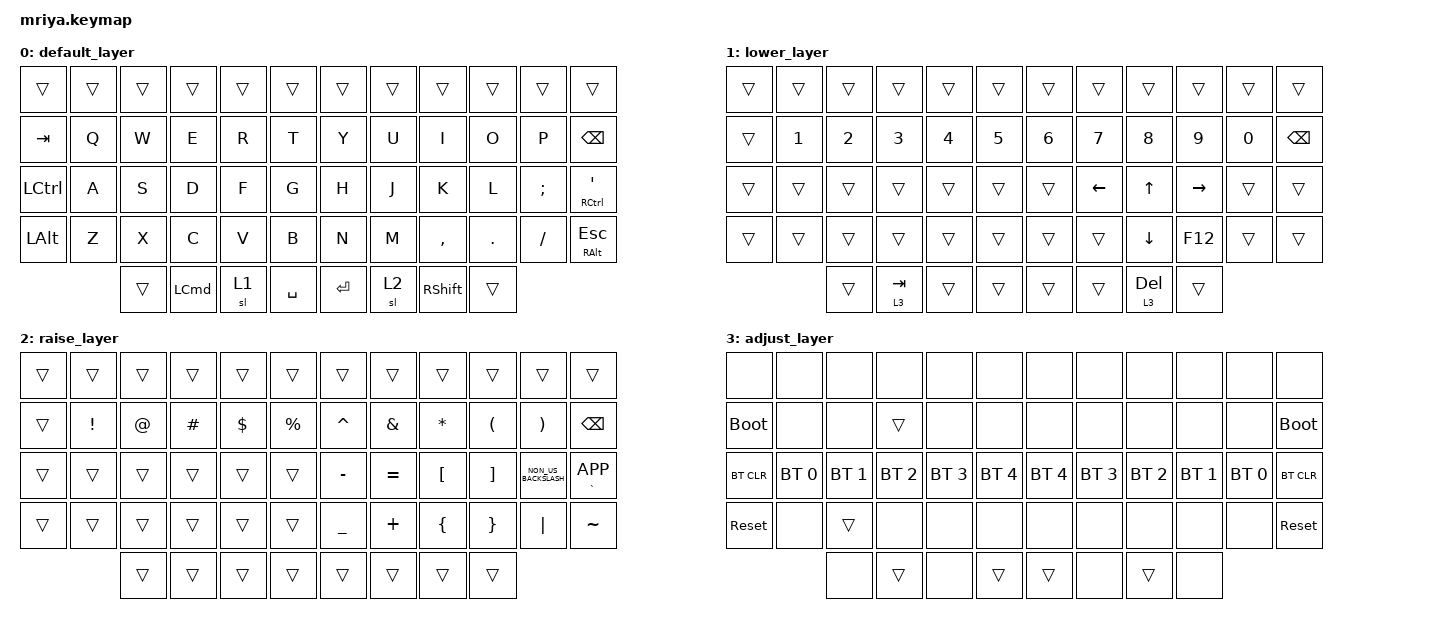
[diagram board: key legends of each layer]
/*
 * Copyright (c) 2023 Andrei Gaevskii
 *
 * SPDX-License-Identifier: MIT
 */

#include <behaviors.dtsi>
#include <dt-bindings/zmk/bt.h>
#include <dt-bindings/zmk/keys.h>

#define DEF 0
#define LWR 1
#define RSE 2
#define ADJ 3

&lt { quick_tap_ms = <200>; };

&mt { quick_tap_ms = <200>; };

/ {
    keymap {
        compatible = "zmk,keymap";

        default_layer {
            bindings = <
  &trans     &trans  &trans  &trans            &trans  &trans       &trans     &trans  &trans           &trans   &trans    &trans
  &kp TAB    &kp Q   &kp W   &kp E             &kp R   &kp T        &kp Y      &kp U   &kp I            &kp O    &kp P     &kp BACKSPACE
  &kp LCTRL  &kp A   &kp S   &kp D             &kp F   &kp G        &kp H      &kp J   &kp K            &kp L    &kp SEMI  &mt RCTRL SQT
  &kp LALT   &kp Z   &kp X   &kp C             &kp V   &kp B        &kp N      &kp M   &kp COMMA        &kp DOT  &kp FSLH  &mt RALT ESCAPE
                     &trans  &kp LEFT_COMMAND  &sl 1   &kp SPACE    &kp ENTER  &sl 2   &kp RIGHT_SHIFT  &trans
            >;
        };

        lower_layer {
            bindings = <
  &trans  &trans  &trans  &trans     &trans  &trans    &trans  &trans          &trans          &trans           &trans  &trans
  &trans  &kp N1  &kp N2  &kp N3     &kp N4  &kp N5    &kp N6  &kp N7          &kp N8          &kp N9           &kp N0  &kp BACKSPACE
  &trans  &trans  &trans  &trans     &trans  &trans    &trans  &kp LEFT_ARROW  &kp UP_ARROW    &kp RIGHT_ARROW  &trans  &trans
  &trans  &trans  &trans  &trans     &trans  &trans    &trans  &trans          &kp DOWN_ARROW  &kp F12          &trans  &trans
                  &trans  &lt 3 TAB  &trans  &trans    &trans  &trans          &lt 3 DEL       &trans
            >;
        };

        raise_layer {
            bindings = <
  &trans  &trans           &trans       &trans    &trans      &trans         &trans          &trans         &trans            &trans                &trans                 &trans
  &trans  &kp EXCLAMATION  &kp AT_SIGN  &kp HASH  &kp DOLLAR  &kp PERCENT    &kp CARET       &kp AMPERSAND  &kp ASTERISK      &kp LEFT_PARENTHESIS  &kp RIGHT_PARENTHESIS  &kp BACKSPACE
  &trans  &trans           &trans       &trans    &trans      &trans         &kp MINUS       &kp EQUAL      &kp LEFT_BRACKET  &kp RIGHT_BRACKET     &kp NON_US_BACKSLASH   &mt GRAVE K_APP
  &trans  &trans           &trans       &trans    &trans      &trans         &kp UNDERSCORE  &kp PLUS       &kp LEFT_BRACE    &kp RIGHT_BRACE       &kp PIPE               &kp TILDE
                           &trans       &trans    &trans      &trans         &trans          &trans         &trans            &trans
            >;
        };

        adjust_layer {
            bindings = <
  &none        &none         &none         &none         &none         &none           &none         &none         &none         &none         &none         &none
  &bootloader  &none         &none         &trans        &none         &none           &none         &none         &none         &none         &none         &bootloader
  &bt BT_CLR   &bt BT_SEL 0  &bt BT_SEL 1  &bt BT_SEL 2  &bt BT_SEL 3  &bt BT_SEL 4    &bt BT_SEL 4  &bt BT_SEL 3  &bt BT_SEL 2  &bt BT_SEL 1  &bt BT_SEL 0  &bt BT_CLR
  &sys_reset   &none         &trans        &none         &none         &none           &none         &none         &none         &none         &none         &sys_reset
                             &none         &trans        &none         &trans          &trans        &none         &trans        &none
            >;
        };
    };
};
